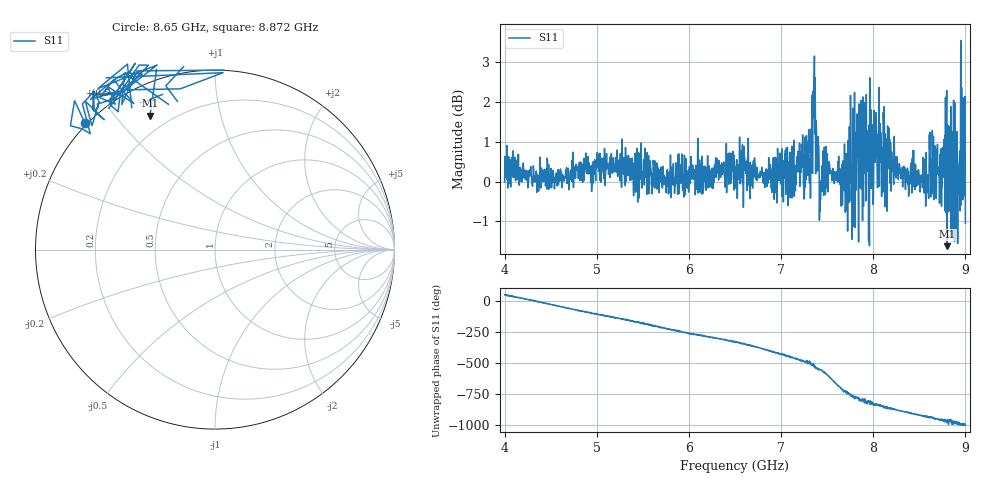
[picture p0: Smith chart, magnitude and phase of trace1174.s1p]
! Created with skrf 1.8.0 (http://scikit-rf.org).
# Hz S RI R 50.0
!freq ReS11 ImS11
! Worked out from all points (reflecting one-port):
!   1601 points, 4 GHz to 9 GHz, reference 50 ohm
!   lowest |S11| = -1.6 dB at 8.803 GHz (marker M1), VSWR 10.70, Z = 6.48 + j30.9 ohm
!   phase of S11 starts at 51 deg and turns -1046 deg over the sweep
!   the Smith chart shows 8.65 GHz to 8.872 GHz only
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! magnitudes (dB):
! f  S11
! 4 GHz  0.0
! 4.625 GHz  -0.2
! 5.25 GHz  0.0
! 5.875 GHz  0.2
! 6.5 GHz  0.4
! 7.125 GHz  0.4
! 7.306 GHz  0.1
! 7.362 GHz  3.2
! 7.384 GHz  1.3
! 7.412 GHz  0.6
! 7.438 GHz  -0.2
! 7.481 GHz  -0.3
! 7.697 GHz  -0.8
! 7.75 GHz  0.9
! 7.784 GHz  -0.5
! 7.847 GHz  0.6
! 7.922 GHz  1.5
! 7.975 GHz  1.8
! 7.988 GHz  0.9
! 8.05 GHz  1.2
! 8.375 GHz  0.2
! 8.425 GHz  0.6
! 8.578 GHz  -0.3
! 8.631 GHz  0.2
! 8.803 GHz  -1.6
! 8.919 GHz  0.2
! 8.972 GHz  0.7
! 9 GHz  -1.1
